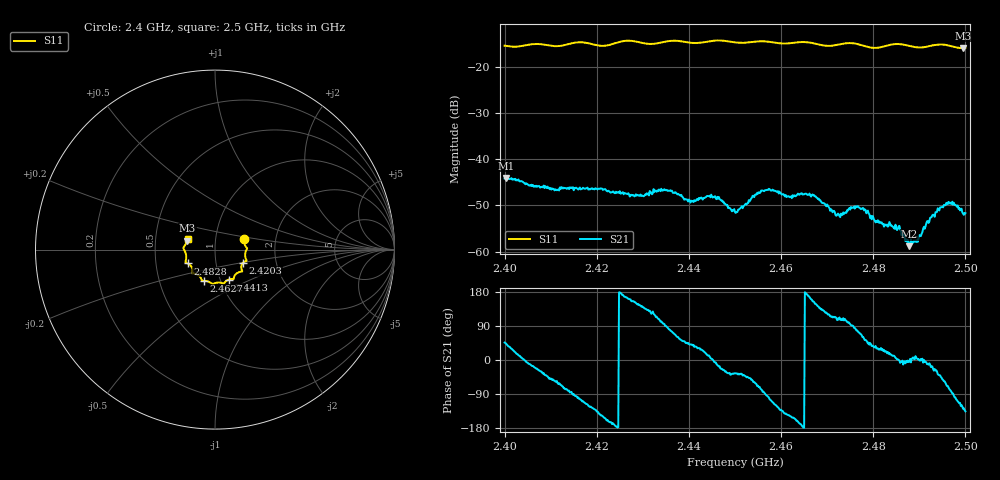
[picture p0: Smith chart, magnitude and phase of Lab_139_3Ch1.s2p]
# Hz S RI R 50
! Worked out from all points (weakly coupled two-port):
!   601 points, 2.4 GHz to 2.5 GHz, reference 50 ohm
!   highest |S21| = -44.02 dB at 2.4003 GHz (marker M1); lowest = -58.8 dB at 2.4878 GHz (marker M2)
!   lowest |S11| = -15.8 dB at 2.4995 GHz (marker M3), VSWR 1.39, Z = 36.5 + j3.78 ohm
!   |S11| at or under -10 dB: start of sweep to end of sweep
!   S12 and S22 are empty: the file has one direction only
!   S11 on the Smith chart (normalised r, x): 2.4 GHz: 1.37, +0.17; 2.4203 GHz: 1.35, -0.20; 2.4413 GHz: 1.09, -0.38; 2.4627 GHz: 0.83, -0.30; 2.4828 GHz: 0.73, -0.12; 2.5 GHz: 0.73, +0.09
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2.4e9  0.1616 0.0583  0.00433 0.00448  0 0  0 0
2.400333e9  0.1616 0.055  0.0046 0.0043  0 0  0 0
2.416667e9  0.1763 -0.0622  -0.00132 -0.00459  0 0  0 0
2.420333e9  0.1561 -0.0733  -0.0036 -0.00318  0 0  0 0
2.427667e9  0.1499 -0.1223  -0.00367 0.00173  0 0  0 0
2.433333e9  0.1074 -0.1479  -0.00143 0.00428  0 0  0 0
2.441333e9  0.0752 -0.1674  0.00286 0.00206  0 0  0 0
2.445333e9  0.0511 -0.1875  0.00392 -0.000133  0 0  0 0
2.45e9  0.0304 -0.1838  0.00219 -0.00154  0 0  0 0
2.456167e9  -0.0129 -0.191  0.000522 -0.00452  0 0  0 0
2.462667e9  -0.0615 -0.174  -0.00348 -0.00184  0 0  0 0
2.466667e9  -0.0744 -0.1682  -0.00383 0.00145  0 0  0 0
2.472333e9  -0.1132 -0.1347  -0.000859 0.00243  0 0  0 0
2.476667e9  -0.1252 -0.1274  0.00077 0.003  0 0  0 0
2.482833e9  -0.1532 -0.0769  0.00177 0.000733  0 0  0 0
2.483333e9  -0.1569 -0.0751  0.00183 0.000534  0 0  0 0
2.485333e9  -0.1645 -0.0706  0.00176 5.36e-05  0 0  0 0
2.487833e9  -0.1615 -0.0553  0.00114 -8.65e-05  0 0  0 0
2.489833e9  -0.1612 -0.0316  0.00147 6.51e-05  0 0  0 0
2.495833e9  -0.1739 0.0152  0.00143 -0.00303  0 0  0 0
2.4995e9  -0.1535 0.0504  -0.00162 -0.00202  0 0  0 0
2.5e9  -0.1521 0.0572  -0.00186 -0.00183  0 0  0 0
